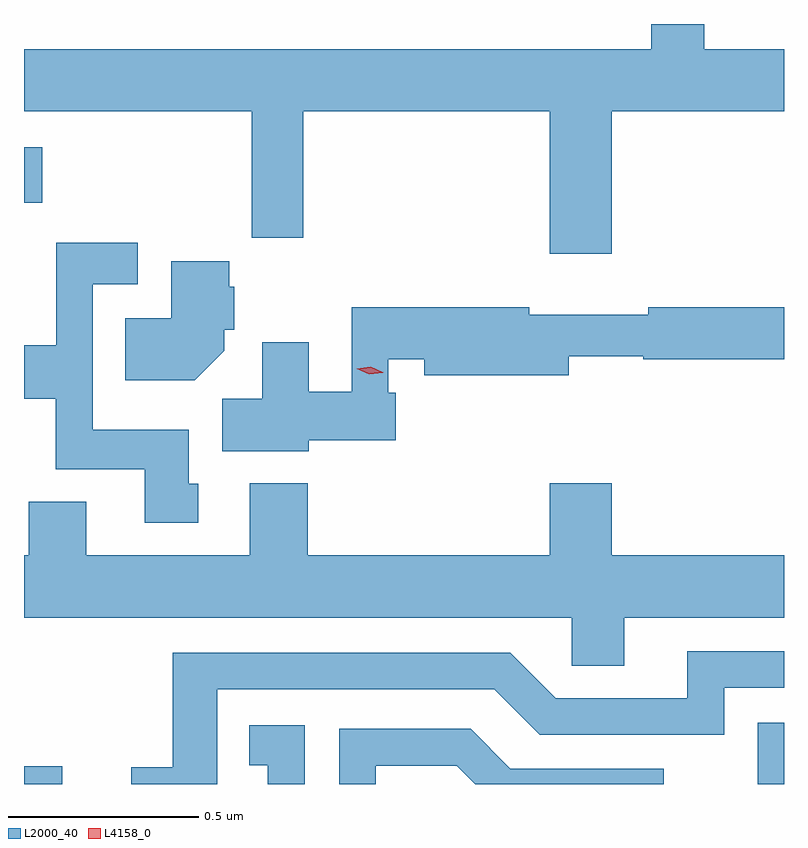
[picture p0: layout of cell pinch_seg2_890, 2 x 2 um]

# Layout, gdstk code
import gdstk
lib = gdstk.Library(unit=1e-6, precision=1e-09)
def R(c, l, rs):  # rectangles x0, y0, x1, y1
    for r in rs: c.add(gdstk.rectangle(r[:2], r[2:], *l))
def P(c, l, *ps):  # polygons
    for p in ps: c.add(gdstk.Polygon(p, *l))
L2000_40 = (2000, 40)
L4158_0 = (4158, 0)

pinch_seg2_890 = lib.new_cell('pinch_seg2_890')
R(pinch_seg2_890, L2000_40, [(511.277,613.898,511.378,613.945), (513.208,613.898,513.277,614.059), (511.277,615.427,511.325,615.574)])
P(pinch_seg2_890, L2000_40, [(512.824,615.668),(513.277,615.668),(513.277,615.832),(513.067,615.832),(513.067,615.898),(512.927,615.898),(512.927,615.832),(511.277,615.832),(511.277,615.668),(511.876,615.668),(511.876,615.336),(512.012,615.336),(512.012,615.668),(512.66,615.668),(512.66,615.294),(512.824,615.294)],
  [(511.735,614.688),(511.711,614.688),(511.711,614.83),(511.458,614.83),(511.458,615.213),(511.576,615.213),(511.576,615.322),(511.362,615.322),(511.362,615.052),(511.277,615.052),(511.277,614.912),(511.36,614.912),(511.36,614.726),(511.595,614.726),(511.595,614.586),(511.735,614.586)],
  [(511.804,615.038),(511.804,615.093),(511.83,615.093),(511.83,615.207),(511.817,615.207),(511.817,615.274),(511.664,615.274),(511.664,615.124),(511.543,615.124),(511.543,614.96),(511.726,614.96)],
  [(512.026,614.802),(512.255,614.802),(512.255,614.928),(512.235,614.928),(512.235,615.016),(512.33,615.016),(512.33,614.974),(512.71,614.974),(512.71,615.024),(512.906,615.024),(512.906,615.016),(513.277,615.016),(513.277,615.152),(512.92,615.152),(512.92,615.133),(512.606,615.133),(512.606,615.152),(512.139,615.152),(512.139,614.93),(512.026,614.93),(512.026,615.061),(511.904,615.061),(511.904,614.912),(511.799,614.912),(511.799,614.774),(512.026,614.774)],
  [(512.857,614.336),(513.277,614.336),(513.277,614.5),(512.824,614.5),(512.824,614.689),(512.66,614.689),(512.66,614.5),(512.024,614.5),(512.024,614.689),(511.871,614.689),(511.871,614.5),(511.441,614.5),(511.441,614.641),(511.289,614.641),(511.289,614.5),(511.277,614.5),(511.277,614.336),(512.718,614.336),(512.718,614.209),(512.857,614.209)],
  [(511.785,614.148),(512.514,614.148),(512.634,614.028),(513.12,614.028),(513.12,614.151),(513.277,614.151),(513.277,614.247),(513.023,614.247),(513.023,614.124),(512.676,614.124),(512.556,614.244),(511.669,614.244),(511.669,613.942),(511.559,613.942),(511.559,613.898),(511.785,613.898)],
  [(512.016,614.053),(511.87,614.053),(511.87,613.947),(511.919,613.947),(511.919,613.898),(512.016,613.898)],
  [(512.202,613.946),(512.416,613.946),(512.464,613.898),(512.961,613.898),(512.961,613.938),(512.557,613.938),(512.452,614.043),(512.106,614.043),(512.106,613.898),(512.202,613.898)])
P(pinch_seg2_890, L4158_0, [(512.186,614.976),(512.153,614.991),(512.153,614.991),(512.153,614.991),(512.189,614.996),(512.221,614.981),(512.222,614.981),(512.221,614.98)])

lib.write_gds('pinch_seg2_890.gds')
